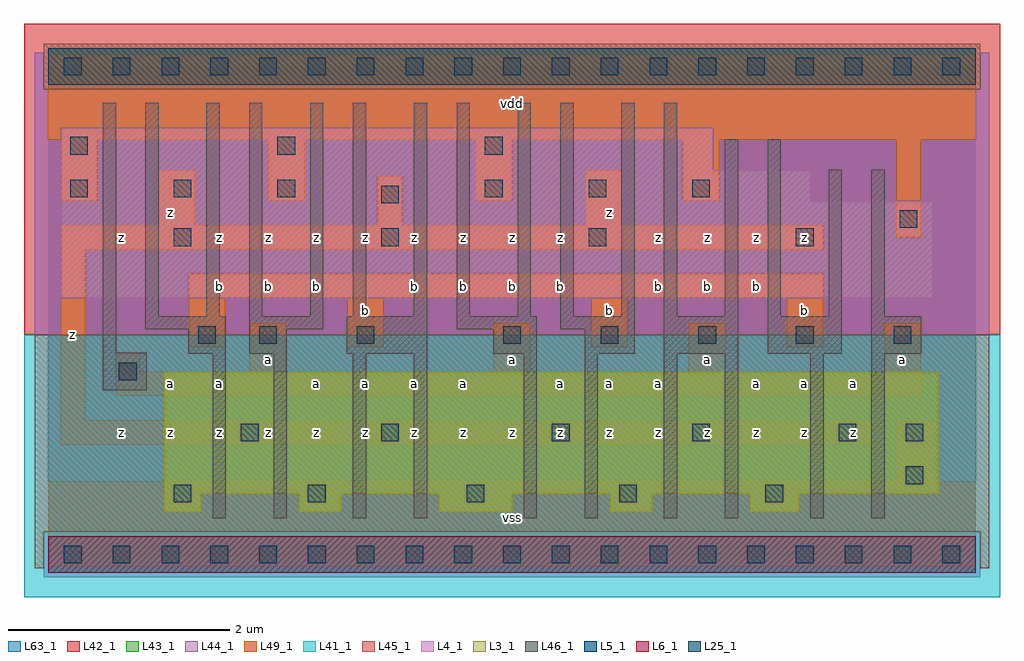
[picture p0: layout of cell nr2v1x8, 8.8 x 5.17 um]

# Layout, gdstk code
import gdstk
lib = gdstk.Library(unit=1e-6, precision=1e-09)
def R(c, l, rs):  # rectangles x0, y0, x1, y1
    for r in rs: c.add(gdstk.rectangle(r[:2], r[2:], *l))
def A(c, l, x, y, w, h, nx, ny, dx, dy):  # array of equal rectangles
    R(c, l, [(x+i*dx, y+j*dy, x+i*dx+w, y+j*dy+h) for i in range(nx) for j in range(ny)])
L3_1 = (3, 1)
L4_1 = (4, 1)
L5_1 = (5, 1)
L6_1 = (6, 1)
L25_1 = (25, 1)
L41_1 = (41, 1)
L42_1 = (42, 1)
L43_1 = (43, 1)
L44_1 = (44, 1)
L45_1 = (45, 1)
L46_1 = (46, 1)
L49_1 = (49, 1)
L63_1 = (63, 1)

nr2v1x8 = lib.new_cell('nr2v1x8')
R(nr2v1x8, L3_1, [(1.045,0.385,1.375,0.55), (2.255,0.385,2.64,0.55), (3.52,0.385,4.18,0.55), (5.06,0.385,5.445,0.55), (6.325,0.385,6.765,0.55), (1.045,0.55,8.03,1.65)])
R(nr2v1x8, L4_1, [(0.11,2.31,7.975,3.19), (0.11,3.19,6.875,3.465), (0.11,3.465,5.995,3.85)])
R(nr2v1x8, L5_1, [(0,4.235,8.36,4.565)])
R(nr2v1x8, L6_1, [(0,-0.165,8.36,0.165)])
A(nr2v1x8, L25_1, 0.14, -0.08, 0.16, 0.16, 19, 2, 0.44, 4.4)
A(nr2v1x8, L25_1, 4.1, 1.9, 0.16, 0.16, 5, 1, 0.88, 0)
A(nr2v1x8, L25_1, 1.13, 2.78, 0.16, 0.16, 4, 1, 1.87, 0)
A(nr2v1x8, L25_1, 0.195, 3.22, 0.16, 0.16, 3, 1, 0.935, 0)
A(nr2v1x8, L25_1, 3.935, 3.22, 0.16, 0.16, 3, 1, 0.935, 0)
A(nr2v1x8, L25_1, 0.195, 3.605, 0.16, 0.16, 3, 1, 1.87, 0)
R(nr2v1x8, L25_1, [(1.13,0.47,1.29,0.63), (2.34,0.47,2.5,0.63), (3.77,0.47,3.93,0.63), (5.145,0.47,5.305,0.63), (6.465,0.47,6.625,0.63), (7.73,0.635,7.89,0.795), (1.735,1.02,1.895,1.18), (3,1.02,3.16,1.18), (4.54,1.02,4.7,1.18), (5.805,1.02,5.965,1.18), (7.125,1.02,7.285,1.18), (7.73,1.02,7.89,1.18), (0.635,1.57,0.795,1.73), (1.35,1.9,1.51,2.06), (1.9,1.9,2.06,2.06), (2.78,1.9,2.94,2.06), (7.675,2.945,7.835,3.105), (3,3.165,3.16,3.325)])
R(nr2v1x8, L41_1, [(-0.22,-0.385,8.58,1.98)])
R(nr2v1x8, L42_1, [(-0.22,1.98,8.58,4.785)])
R(nr2v1x8, L43_1, [(0,-0.165,8.36,0.165), (1.045,0.385,1.375,0.55), (2.255,0.385,2.64,0.55), (3.52,0.385,4.18,0.55), (5.06,0.385,5.445,0.55), (6.325,0.385,6.765,0.55), (1.045,0.55,8.03,1.65), (0.11,2.31,7.975,3.19), (0.11,3.19,6.875,3.465), (0.11,3.465,5.995,3.85), (0,4.235,8.36,4.565)])
R(nr2v1x8, L44_1, [(-0.04,-0.205,8.4,0.205), (-0.125,1.98,8.485,4.195), (-0.125,4.195,-0.04,4.525), (8.4,4.195,8.485,4.525)])
R(nr2v1x8, L45_1, [(-0.125,-0.125,-0.04,0.205), (8.4,-0.125,8.485,0.205), (-0.125,0.205,8.485,1.98), (-0.04,4.195,8.4,4.605)])
R(nr2v1x8, L46_1, [(1.48,0.325,1.6,1.81), (2.03,0.325,2.15,1.81), (2.745,0.325,2.865,1.81), (3.295,0.325,3.415,1.81), (4.285,0.325,4.405,1.81), (4.835,0.325,4.955,1.81), (5.55,0.325,5.67,1.81), (6.1,0.325,6.22,1.81), (6.87,0.325,6.99,1.81), (7.42,0.325,7.54,1.81), (0.49,1.48,0.885,1.82), (1.26,1.81,1.6,2.03), (1.81,1.81,2.15,2.03), (2.69,1.81,3.415,2.15), (4.01,1.81,4.405,2.03), (4.835,1.81,5.285,2.03), (5.55,1.81,6.22,2.15), (6.485,1.81,7.155,2.15), (7.42,1.81,7.87,2.15), (0.49,1.82,0.61,4.075), (0.875,2.03,1.6,2.15), (1.81,2.03,2.48,2.15), (3.68,2.03,4.405,2.15), (4.615,2.03,5.285,2.15), (0.875,2.15,0.995,4.075), (1.425,2.15,1.545,4.075), (1.81,2.15,1.93,4.075), (2.36,2.15,2.48,4.075), (2.745,2.15,2.865,4.075), (3.295,2.15,3.415,4.075), (3.68,2.15,3.8,4.075), (4.23,2.15,4.35,4.075), (4.615,2.15,4.735,4.075), (5.165,2.15,5.285,4.075), (5.55,2.15,5.67,4.075), (6.1,2.15,6.22,3.745), (6.485,2.15,6.605,3.745), (7.035,2.15,7.155,3.47), (7.42,2.15,7.54,3.47)])
A(nr2v1x8, L49_1, 4.015, 1.65, 0.33, 0.44, 3, 1, 1.76, 0)
A(nr2v1x8, L49_1, 0.11, 3.19, 0.33, 0.55, 4, 1, 1.87, 0)
R(nr2v1x8, L49_1, [(0,-0.11,8.36,0.66), (7.645,0.66,7.975,1.21), (0.11,0.99,7.425,1.21), (0.11,1.21,0.33,2.75), (0.605,1.43,7.865,1.65), (0.605,1.65,0.825,1.815), (1.815,1.65,2.145,2.09), (1.265,1.87,1.595,2.31), (2.695,1.87,3.025,2.31), (4.895,1.87,5.225,2.31), (6.655,1.87,6.985,2.31), (1.265,2.31,6.985,2.53), (0.11,2.75,6.985,2.97), (7.645,2.86,7.865,3.74), (0.99,2.97,1.32,3.465), (2.97,2.97,3.19,3.41), (4.84,2.97,5.17,3.465), (0,3.74,8.36,4.51)])
R(nr2v1x8, L63_1, [(0,0,8.36,4.4)])
nr2v1x8.add(gdstk.Label('z', (1.1,1.1), layer=49, texttype=1))
nr2v1x8.add(gdstk.Label('z', (0.66,1.1), layer=49, texttype=1))
nr2v1x8.add(gdstk.Label('a', (1.1,1.54), layer=49, texttype=1))
nr2v1x8.add(gdstk.Label('z', (0.22,1.98), layer=49, texttype=1))
nr2v1x8.add(gdstk.Label('z', (0.66,2.86), layer=49, texttype=1))
nr2v1x8.add(gdstk.Label('z', (1.1,3.08), layer=49, texttype=1))
nr2v1x8.add(gdstk.Label('z', (2.42,1.1), layer=49, texttype=1))
nr2v1x8.add(gdstk.Label('z', (1.98,1.1), layer=49, texttype=1))
nr2v1x8.add(gdstk.Label('z', (1.54,1.1), layer=49, texttype=1))
nr2v1x8.add(gdstk.Label('a', (2.42,1.54), layer=49, texttype=1))
nr2v1x8.add(gdstk.Label('a', (1.54,1.54), layer=49, texttype=1))
nr2v1x8.add(gdstk.Label('a', (1.98,1.76), layer=49, texttype=1))
nr2v1x8.add(gdstk.Label('b', (2.42,2.42), layer=49, texttype=1))
nr2v1x8.add(gdstk.Label('b', (1.98,2.42), layer=49, texttype=1))
nr2v1x8.add(gdstk.Label('b', (1.54,2.42), layer=49, texttype=1))
nr2v1x8.add(gdstk.Label('z', (2.42,2.86), layer=49, texttype=1))
nr2v1x8.add(gdstk.Label('z', (1.98,2.86), layer=49, texttype=1))
nr2v1x8.add(gdstk.Label('z', (1.54,2.86), layer=49, texttype=1))
nr2v1x8.add(gdstk.Label('z', (2.86,1.1), layer=49, texttype=1))
nr2v1x8.add(gdstk.Label('z', (3.74,1.1), layer=49, texttype=1))
nr2v1x8.add(gdstk.Label('z', (3.3,1.1), layer=49, texttype=1))
nr2v1x8.add(gdstk.Label('a', (3.74,1.54), layer=49, texttype=1))
nr2v1x8.add(gdstk.Label('a', (3.3,1.54), layer=49, texttype=1))
nr2v1x8.add(gdstk.Label('a', (2.86,1.54), layer=49, texttype=1))
nr2v1x8.add(gdstk.Label('b', (3.74,2.42), layer=49, texttype=1))
nr2v1x8.add(gdstk.Label('b', (3.3,2.42), layer=49, texttype=1))
nr2v1x8.add(gdstk.Label('b', (2.86,2.2), layer=49, texttype=1))
nr2v1x8.add(gdstk.Label('z', (2.86,2.86), layer=49, texttype=1))
nr2v1x8.add(gdstk.Label('z', (3.74,2.86), layer=49, texttype=1))
nr2v1x8.add(gdstk.Label('z', (3.3,2.86), layer=49, texttype=1))
nr2v1x8.add(gdstk.Label('vss', (4.18,0.33), layer=49, texttype=1))
nr2v1x8.add(gdstk.Label('z', (4.18,1.1), layer=49, texttype=1))
nr2v1x8.add(gdstk.Label('z', (5.06,1.1), layer=49, texttype=1))
nr2v1x8.add(gdstk.Label('z', (4.62,1.1), layer=49, texttype=1))
nr2v1x8.add(gdstk.Label('z', (5.5,1.1), layer=49, texttype=1))
nr2v1x8.add(gdstk.Label('a', (5.06,1.54), layer=49, texttype=1))
nr2v1x8.add(gdstk.Label('a', (4.62,1.54), layer=49, texttype=1))
nr2v1x8.add(gdstk.Label('a', (5.5,1.54), layer=49, texttype=1))
nr2v1x8.add(gdstk.Label('a', (4.18,1.76), layer=49, texttype=1))
nr2v1x8.add(gdstk.Label('b', (5.06,2.2), layer=49, texttype=1))
nr2v1x8.add(gdstk.Label('b', (4.62,2.42), layer=49, texttype=1))
nr2v1x8.add(gdstk.Label('b', (5.5,2.42), layer=49, texttype=1))
nr2v1x8.add(gdstk.Label('b', (4.18,2.42), layer=49, texttype=1))
nr2v1x8.add(gdstk.Label('z', (4.18,2.86), layer=49, texttype=1))
nr2v1x8.add(gdstk.Label('z', (4.62,2.86), layer=49, texttype=1))
nr2v1x8.add(gdstk.Label('z', (5.5,2.86), layer=49, texttype=1))
nr2v1x8.add(gdstk.Label('z', (5.06,3.08), layer=49, texttype=1))
nr2v1x8.add(gdstk.Label('vdd', (4.18,4.07), layer=49, texttype=1))
nr2v1x8.add(gdstk.Label('z', (6.82,1.1), layer=49, texttype=1))
nr2v1x8.add(gdstk.Label('z', (6.38,1.1), layer=49, texttype=1))
nr2v1x8.add(gdstk.Label('z', (5.94,1.1), layer=49, texttype=1))
nr2v1x8.add(gdstk.Label('a', (6.82,1.54), layer=49, texttype=1))
nr2v1x8.add(gdstk.Label('a', (6.38,1.54), layer=49, texttype=1))
nr2v1x8.add(gdstk.Label('a', (5.94,1.76), layer=49, texttype=1))
nr2v1x8.add(gdstk.Label('b', (6.82,2.2), layer=49, texttype=1))
nr2v1x8.add(gdstk.Label('b', (6.38,2.42), layer=49, texttype=1))
nr2v1x8.add(gdstk.Label('b', (5.94,2.42), layer=49, texttype=1))
nr2v1x8.add(gdstk.Label('z', (6.82,2.86), layer=49, texttype=1))
nr2v1x8.add(gdstk.Label('z', (6.38,2.86), layer=49, texttype=1))
nr2v1x8.add(gdstk.Label('z', (5.94,2.86), layer=49, texttype=1))
nr2v1x8.add(gdstk.Label('z', (7.26,1.1), layer=49, texttype=1))
nr2v1x8.add(gdstk.Label('a', (7.26,1.54), layer=49, texttype=1))
nr2v1x8.add(gdstk.Label('a', (7.7,1.76), layer=49, texttype=1))

lib.write_gds('nr2v1x8.gds')
